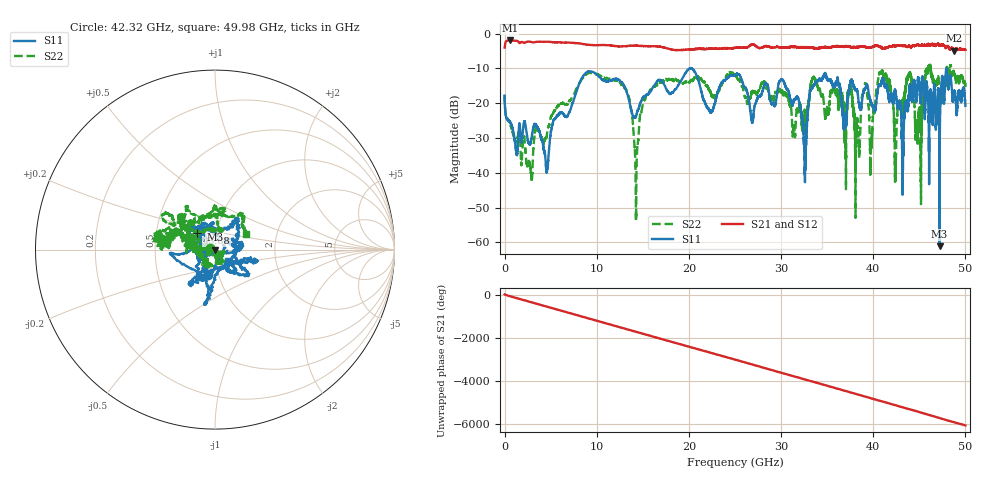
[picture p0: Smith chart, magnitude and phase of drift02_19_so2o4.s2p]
!Created with skrf (http://scikit-rf.org).
# Hz S RI R 50.0
!freq ReS11 ImS11 ReS21 ImS21 ReS12 ImS12 ReS22 ImS22
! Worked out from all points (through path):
!   10001 points, 300 kHz to 50 GHz, reference 50 ohm
!   highest |S21| = -1.99 dB at 555.3 MHz (marker M1); lowest = -4.9 dB at 48.77 GHz (marker M2)
!   group delay of S21, straight-line fit = 337 ps
!   lowest |S11| = -61.1 dB at 47.2 GHz (marker M3), VSWR 1.00, Z = 49.9 + j0.00269 ohm
!   |S11| at or under -10 dB: start of sweep to 20.06 GHz; 20.20816 GHz to 20.21506 GHz (6.905 MHz wide, 0.0342 % of centre); 20.24 GHz to end of sweep (the widest 3 of 4)
!   |S22| runs from -54.1 to -9.0 dB; largest |S21 - S12| = 0.032
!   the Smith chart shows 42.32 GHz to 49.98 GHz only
!   S11 on the Smith chart (normalised r, x): 42.32 GHz: 0.89, -0.25; 43.88 GHz: 0.81, +0.15; 49.98 GHz: 1.15, -0.15
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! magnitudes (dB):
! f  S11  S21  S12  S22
! 300 kHz  -17.9  -4.0  -4.0  -17.6
! 555.3 MHz  -25.2  -2.0  -2.0  -25.9
! 4.565 GHz  -39.8  -2.4  -2.4  -29.3
! 8.335 GHz  -13.0  -2.9  -2.9  -13.2
! 13.02 GHz  -15.3  -3.7  -3.6  -15.7
! 14.28 GHz  -23.7  -3.5  -3.5  -48.6
! 16.67 GHz  -13.4  -3.7  -3.7  -14.5
! 25 GHz  -12.1  -4.1  -4.1  -12.1
! 30.18 GHz  -13.4  -4.1  -4.1  -16.8
! 32.56 GHz  -40.4  -3.9  -3.9  -24.6
! 33.34 GHz  -15.9  -4.1  -4.1  -13.6
! 37.51 GHz  -14.2  -3.8  -3.9  -15.8
! 38.29 GHz  -16.8  -3.9  -3.9  -24.6
! 41.67 GHz  -18.5  -3.8  -3.9  -13.0
! 42.32 GHz  -16.8  -3.6  -3.6  -30.9
! 43.88 GHz  -17.5  -3.6  -3.6  -12.2
! 44.99 GHz  -14.2  -3.4  -3.3  -21.8
! 45.91 GHz  -17.9  -3.2  -3.1  -11.9
! 47.2 GHz  -61.1  -3.5  -3.5  -16.8
! 48.77 GHz  -17.0  -4.9  -4.8  -10.9
! 49.98 GHz  -20.1  -4.7  -4.6  -14.3
! 50 GHz  -20.8  -4.7  -4.7  -14.9
